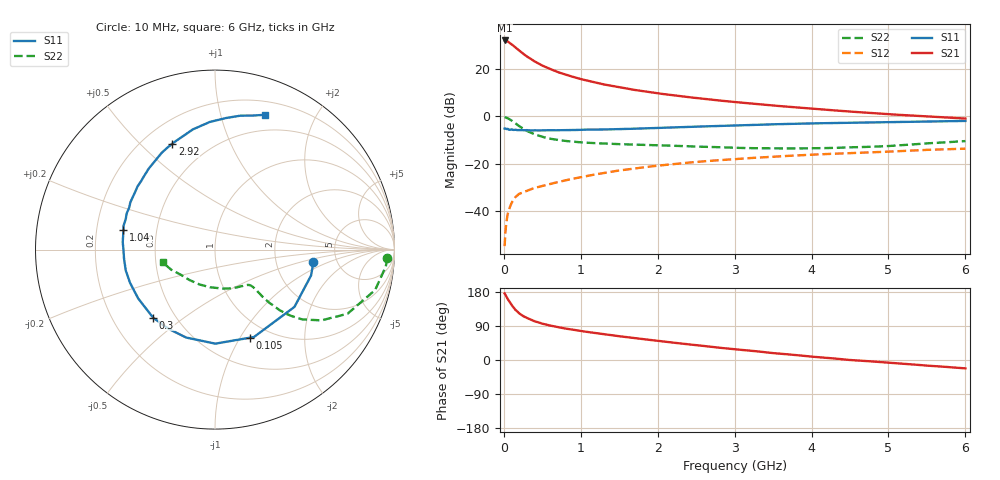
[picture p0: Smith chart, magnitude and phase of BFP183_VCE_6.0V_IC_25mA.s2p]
! Infineon Technologies  Discrete & RF Semiconductors
! BFP183
! VCE = 6.0 V,  IC =  25 mA
! Common Emitter S-Parameters:  Jan 2016
# GHz  S  MA  R  50
!  f  S11  S21  S12  S22
! GHz  MAG  ANG  MAG  ANG  MAG  ANG  MAG  ANG
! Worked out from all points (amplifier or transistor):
!   210 points, 10 MHz to 6 GHz, reference 50 ohm
!   highest |S21| = 32.1 dB at 10 MHz (marker M1)
!   |S21| within 3 dB of that: start of sweep to 154 MHz
!   unconditionally stable (mu >= 1): 789.3 MHz to 5.763 GHz
!   at 185 MHz: K = 0.40, MSG = 30.7 dB, |S12| = -33.2 dB
!   at 1.52 GHz: K = 1.13, MAG = 15.3 dB, |S12| = -22.8 dB
!   at 6 GHz: K = 0.96, MSG = 6.4 dB, |S12| = -13.6 dB
!   S11 on the Smith chart (normalised r, x): 10 MHz: 3.33, -0.66; 105 MHz: 0.81, -1.10; 300 MHz: 0.38, -0.39; 1.04 GHz: 0.32, +0.10; 2.92 GHz: 0.32, +0.63; 6 GHz: 0.33, +1.39
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0.01  0.5529 -7.1  40.38 175.6  0.0018 80.9  0.9618 -2.7
0.02  0.5543 -15.1  40.21 172.2  0.0035 80.0  0.956 -5.7
0.05  0.5458 -35.8  38.57 160.8  0.0086 76.8  0.9202 -14.2
0.1  0.5331 -66.0  33.75 144.9  0.0147 64.2  0.8204 -25.8
0.105  0.5282 -68.3  33.2 143.8  0.0152 63.3  0.809 -26.5
0.15  0.524 -89.8  28.96 132.4  0.0196 57.6  0.7129 -33.6
0.2  0.5157 -108.2  24.72 123.0  0.023 53.9  0.6216 -38.7
0.24  0.5107 -118.5  21.87 117.4  0.0244 52.0  0.5634 -41.0
0.3  0.5125 -132.3  18.51 110.6  0.0268 50.4  0.492 -43.2
0.4  0.5071 -147.4  14.54 102.0  0.0307 50.1  0.4173 -44.5
0.5  0.5084 -158.6  11.87 95.9  0.0338 50.3  0.3694 -44.7
0.6  0.5106 -166.9  10.1 90.9  0.0374 51.3  0.3379 -44.5
0.7  0.5093 -174.2  8.658 86.8  0.0406 52.4  0.3171 -44.4
1.02  0.5204 168.7  6.048 76.0  0.0524 53.9  0.2812 -45.2
1.04  0.5218 167.8  5.942 75.4  0.0532 53.9  0.2799 -45.4
1.5  0.5401 150.9  4.133 62.7  0.0718 53.5  0.2592 -50.0
2.02  0.5686 134.2  3.046 50.2  0.0914 50.2  0.2448 -58.9
2.92  0.6357 112.0  2.075 30.0  0.1228 42.4  0.2194 -80.6
3.1  0.6481 108.2  1.947 26.5  0.1284 40.7  0.2149 -85.7
4.1  0.7158 90.8  1.419 7.3  0.1577 31.6  0.2129 -117.4
5.1  0.7622 78.3  1.088 -8.5  0.1828 24.0  0.2417 -146.2
6  0.8022 69.5  0.901 -22.1  0.2078 15.8  0.3008 -166.3
